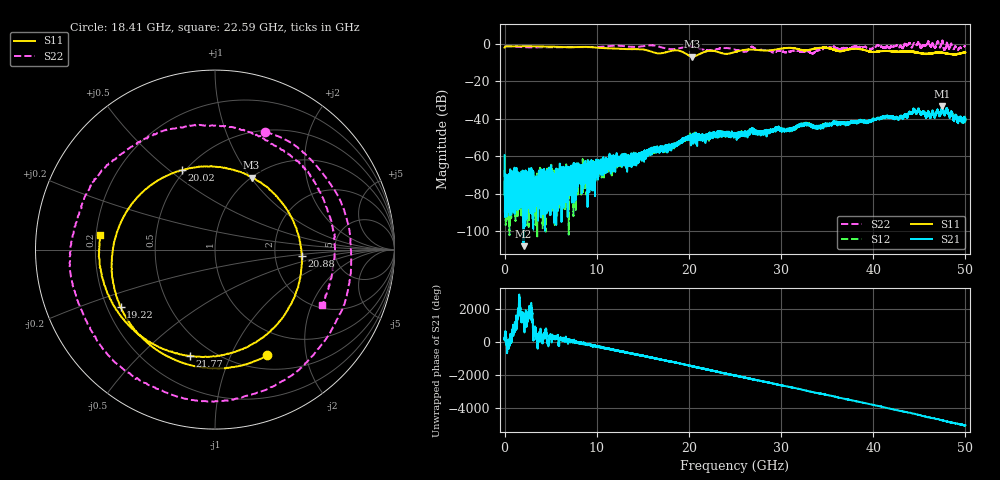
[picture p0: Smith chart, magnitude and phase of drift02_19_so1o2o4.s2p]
!Created with skrf (http://scikit-rf.org).
# Hz S RI R 50.0
!freq ReS11 ImS11 ReS21 ImS21 ReS12 ImS12 ReS22 ImS22
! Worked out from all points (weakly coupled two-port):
!   10001 points, 300 kHz to 50 GHz, reference 50 ohm
!   highest |S21| = -33.34 dB at 47.5 GHz (marker M1); lowest = -108.1 dB at 2.05 GHz (marker M2)
!   lowest |S11| = -6.9 dB at 20.37 GHz (marker M3), VSWR 2.64, Z = 50.2 + j50.5 ohm
!   |S11| at or under -10 dB: nowhere
!   |S22| runs from -5.3 to 1.7 dB; largest |S21 - S12| = 0.0032
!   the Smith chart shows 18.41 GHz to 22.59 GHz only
!   S11 on the Smith chart (normalised r, x): 18.41 GHz: 0.67, -1.39; 19.22 GHz: 0.26, -0.26; 20.02 GHz: 0.48, +0.56; 20.88 GHz: 2.84, -0.27; 21.77 GHz: 0.38, -0.72; 22.59 GHz: 0.22, +0.06
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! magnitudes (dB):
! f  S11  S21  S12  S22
! 300 kHz  -2.1  -59.6  -67.5  -1.3
! 255.3 MHz  -1.4  -78.6  -78.6  -1.4
! 2.05 GHz  -1.3  -108.1  -86.7  -1.9
! 3.44 GHz  -1.5  -70.8  -74.2  -2.0
! 8.335 GHz  -1.7  -64.9  -69.2  -1.9
! 16.67 GHz  -5.2  -55.8  -56.2  -1.5
! 18.41 GHz  -3.6  -54.5  -54.3  -2.9
! 19.22 GHz  -4.2  -51.8  -52.0  -2.2
! 20.02 GHz  -6.4  -50.2  -50.6  -1.5
! 20.37 GHz  -6.9  -52.0  -50.5  -1.7
! 20.88 GHz  -6.3  -50.7  -50.1  -2.1
! 21.77 GHz  -4.3  -50.4  -48.4  -3.5
! 22.59 GHz  -3.8  -48.3  -49.6  -3.4
! 25 GHz  -4.5  -49.2  -49.4  -3.2
! 26.11 GHz  -3.3  -47.9  -48.0  -4.3
! 26.9 GHz  -3.2  -45.9  -46.9  -1.7
! 33.34 GHz  -3.0  -43.7  -43.6  -5.0
! 34.89 GHz  -2.2  -44.0  -43.6  -2.2
! 41.67 GHz  -4.0  -39.1  -39.2  -2.1
! 44.63 GHz  -4.5  -36.7  -36.5  -0.6
! 47.5 GHz  -4.9  -33.3  -33.7  1.2
! 50 GHz  -4.7  -40.8  -39.8  -1.5
